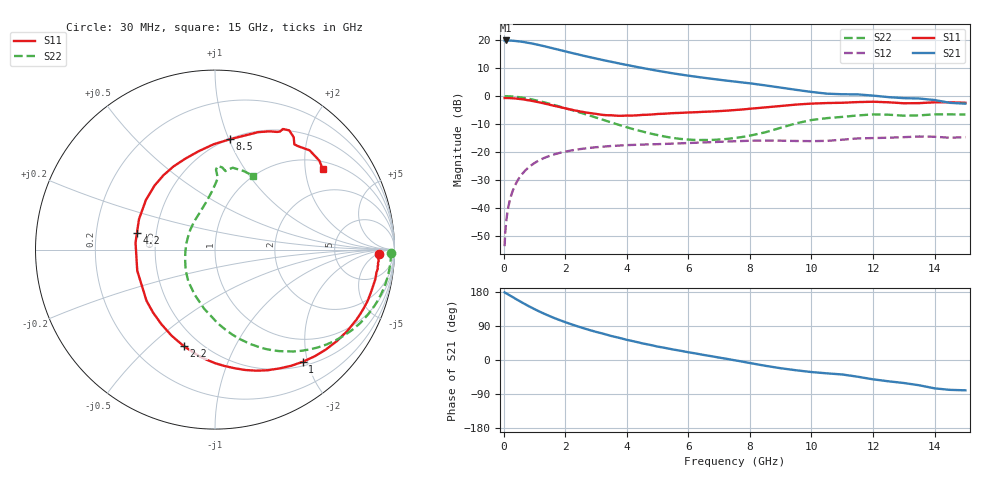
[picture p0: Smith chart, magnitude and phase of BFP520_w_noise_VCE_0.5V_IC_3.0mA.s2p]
! Infineon Technologies  Discrete & RF Semiconductors
! BFP520
! VCE =  0.5 V,  IC =  3.0 mA
! Common Emitter S-Parameters:  Oct 2015
# GHz  S  MA  R  50
!  f  S11  S21  S12  S22
! GHz  MAG  ANG  MAG  ANG  MAG  ANG  MAG  ANG
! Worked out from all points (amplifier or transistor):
!   109 points, 30 MHz to 15 GHz, reference 50 ohm
!   highest |S21| = 19.7 dB at 70 MHz (marker M1)
!   |S21| within 3 dB of that: start of sweep to 1.674 GHz
!   unconditionally stable (mu >= 1): 4.492 GHz to end of sweep
!   at 450 MHz: K = 0.09, MSG = 24.8 dB, |S12| = -30.2 dB
!   at 4 GHz: K = 0.91, MSG = 14.3 dB, |S12| = -17.6 dB
!   at 15 GHz: K = 1.54, MAG = 1.6 dB, |S12| = -14.7 dB
!   lowest NFmin = 1.02 dB at 900 MHz
!   S11 on the Smith chart (normalised r, x): 30 MHz: 20, -6; 1 GHz: 0.57, -1.92; 2.2 GHz: 0.41, -0.64; 4.2 GHz: 0.39, +0.09; 8.5 GHz: 0.50, +1.01; 15 GHz: 1.22, +2.49
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0.03  0.9117 -1.6  9.62 178.5  0.0021 86.4  0.9799 -1.1
0.07  0.9144 -4.0  9.643 176.3  0.0049 87.6  0.9804 -2.7
0.2  0.9081 -10.6  9.595 170.4  0.0139 84.2  0.9756 -7.8
0.35  0.8972 -18.6  9.473 163.3  0.0241 79.6  0.9627 -13.6
0.6  0.8652 -31.6  9.132 151.6  0.0405 72.0  0.9261 -23.0
0.8  0.832 -41.9  8.736 142.6  0.0525 66.0  0.886 -30.3
1  0.7934 -52.0  8.331 134.3  0.0634 60.6  0.8401 -37.1
1.2  0.7526 -61.7  7.879 126.4  0.0731 55.5  0.7914 -43.5
1.5  0.6908 -76.1  7.206 115.6  0.0854 48.5  0.7173 -52.3
1.8  0.6332 -89.9  6.562 105.9  0.0955 42.5  0.6458 -60.3
2.2  0.5649 -108.0  5.799 94.2  0.1062 35.4  0.5586 -69.9
2.6  0.5119 -125.7  5.148 83.7  0.1145 29.3  0.4797 -78.9
3  0.4763 -143.3  4.598 74.2  0.1212 23.9  0.409 -88.1
3.5  0.4489 -164.8  4.019 63.2  0.1277 17.8  0.3345 -100.5
4.2  0.4445 168.2  3.36 49.7  0.1333 10.6  0.2554 -120.0
5.1  0.4757 142.1  2.724 34.0  0.1381 3.3  0.1943 -147.7
6.1  0.506 123.0  2.238 19.1  0.1447 -3.2  0.1647 -177.6
7.6  0.5611 97.5  1.764 -2.0  0.1555 -13.5  0.1796 137.8
8.5  0.6203 82.3  1.528 -15.3  0.1595 -20.7  0.2234 112.2
10.5  0.7413 62.2  1.089 -35.2  0.1574 -29.9  0.3992 87.8
13  0.7344 53.0  0.906 -60.7  0.1832 -46.4  0.4413 82.4
15  0.7496 36.7  0.722 -80.0  0.1833 -60.4  0.4628 62.4
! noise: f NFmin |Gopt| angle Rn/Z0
0.45  1.06  0.59  3  0.37
0.9  1.02  0.55  12  0.38
1.9  1.29  0.46  25  0.32
2.4  1.36  0.42  36  0.31
3.5  1.32  0.41  61  0.28
